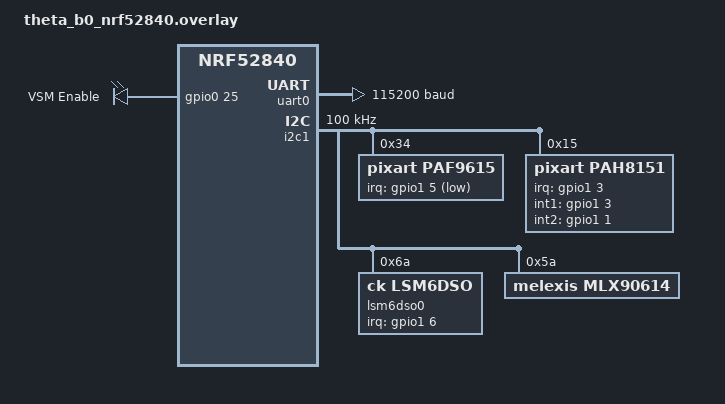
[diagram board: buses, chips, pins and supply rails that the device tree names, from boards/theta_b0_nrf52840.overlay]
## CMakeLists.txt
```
cmake_minimum_required(VERSION 3.20.0)

# Drivers
set(DRIVERS
    vsm_drv
    mlx90614_drv
    lsm6dso_drv
    pah8151_drv
)

# Set Monorepo root
set(MONOREPO_ROOT "/workspaces/concord")
set(MONOREPO_ROOT ${MONOREPO_ROOT} CACHE INTERNAL "Monorepo root directory")

# Set the paths to the DTS and BOARD
set(DTS_ROOT ${MONOREPO_ROOT}/libs/zephyr/ck_boards/current)
set(BOARD_ROOT ${MONOREPO_ROOT}/libs/zephyr/ck_boards/current)
set(BOARD alpha_b0/nrf52840)

# Append drivers
foreach(DRIVER IN LISTS DRIVERS)
    list(APPEND ZEPHYR_EXTRA_MODULES "${MONOREPO_ROOT}/libs/zephyr/${DRIVER}")
endforeach()

# DRIVERS FOR SOME REASON HAVE TO GO HERE?
find_package(Zephyr REQUIRED HINTS $ENV{ZEPHYR_BASE})
project(alpha)

# Get the library hex file path from the VSM driver module
set(LIBRARY_HEX_PATH ${VSM_PSP_HEX_PATH})

# Get the PAH8151 HRD library path from the VSM driver module
set(PAH8151_HRD_LIB_PATH ${VSM_PAH8151_HRD_LIB_PATH})

# Define the merged hex file path
set(MERGED_HEX_PATH "${CMAKE_BINARY_DIR}/merged.hex")

# Custom target to merge and flash both hex files
if(EXISTS ${LIBRARY_HEX_PATH})
    add_custom_target(merge_hex ALL
        COMMAND ${CMAKE_COMMAND} -E echo "Merging application and library hex files..."
        COMMAND mergehex -m ${CMAKE_BINARY_DIR}/zephyr/zephyr.hex ${LIBRARY_HEX_PATH} -o ${MERGED_HEX_PATH}
        DEPENDS ${CMAKE_BINARY_DIR}/zephyr/zephyr.hex
        COMMENT "Merging hex files: application and library"
    )

    # Flash the merged hex file
    add_custom_target(flash_merged ALL
        COMMAND west flash --hex-file ${MERGED_HEX_PATH} --skip-rebuild
        DEPENDS merge_hex
        COMMENT "Flashing merged hex file"
    )
else()
    message(WARNING "Library hex file not found at: ${LIBRARY_HEX_PATH}. Ensure the vsm_drv module is included correctly.")
endif()

# target_sources(app PRIVATE src/main.c)
# target_sources(app PRIVATE src/main_9160.c)
# target_sources(app PRIVATE src/test.c)
# target_sources(app PRIVATE src/test_temp.c)
# target_sources(app PRIVATE src/test_snr.c)
# target_sources(app PRIVATE src/test_cross_talk.c)
# target_sources(app PRIVATE src/test_reflectivity.c)
# target_sources(app PRIVATE src/main_fail.c)
target_sources(app PRIVATE src/main.c)
# target_sources(app PRIVATE src/test_lsm6dso_subs.c)
```

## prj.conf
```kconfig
# CONFIG_THREAD_ANALYZER=y
# CONFIG_THREAD_ANALYZER_USE_PRINTK=y
# CONFIG_THREAD_ANALYZER_AUTO=y
# CONFIG_THREAD_ANALYZER_AUTO_INTERVAL=5

# CoreKinect VSM driver
CONFIG_CK_MODULES_VSM=y
CONFIG_CK_MODULES_VSM_BLE_SERVER=n
CONFIG_CK_MODULES_VSM_THREADS_DEBUG_LEVEL=3
CONFIG_CK_MODULES_VSM_TESTS_ENABLED=y

# Sensor drivers (from separate submodules)
CONFIG_CK_MLX90614=y
CONFIG_CK_MLX90614_LOG_LEVEL=3
CONFIG_CK_LSM6DSO=y
CONFIG_CK_LSM6DSO_LOG_LEVEL=3
CONFIG_CK_LSM6DSO_BUS_MUTEX=n
CONFIG_CK_PAH8151=y
CONFIG_CK_PAH8151_LOG_LEVEL=3

# Logging
CONFIG_LOG=y
CONFIG_MAIN_STACK_SIZE=20000
CONFIG_LOG_BUFFER_SIZE=20000
CONFIG_LOG_MODE_DEFERRED=y
CONFIG_CBPRINTF_FP_SUPPORT=y

# UART logging
CONFIG_LOG_BACKEND_UART=y


# System
CONFIG_RING_BUFFER=y
CONFIG_POLL=y
CONFIG_ASSERT=y
CONFIG_POLL=y
CONFIG_FPU=y
CONFIG_NEWLIB_LIBC=y

# Debugging
CONFIG_HW_STACK_PROTECTION=y
CONFIG_THREAD_MONITOR=y
CONFIG_INIT_STACKS=y
CONFIG_DEBUG_THREAD_INFO=y
CONFIG_THREAD_STACK_INFO=y
CONFIG_THREAD_NAME=y
CONFIG_DEBUG_OPTIMIZATIONS=y
CONFIG_EXCEPTION_STACK_TRACE=y
CONFIG_DEBUG_INFO=y

# Shell
CONFIG_SHELL=n
CONFIG_I2C_SHELL=n

# Peripherals
CONFIG_I2C=y
CONFIG_I2C_GPIO=y
CONFIG_SPI=y

# Sensor
CONFIG_SENSOR=y
CONFIG_SENSOR_LOG_LEVEL_DBG=n
CONFIG_CK_PAH8151_FACTORY_TEST=y
```

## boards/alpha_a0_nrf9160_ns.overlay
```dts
&uart0 {
    status = "okay";
    current-speed = <115200>;
};
```

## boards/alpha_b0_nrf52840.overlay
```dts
/*
 * Copyright (c) 2024-2025 CoreKinect Inc.
 *
 * Alpha B0 NRF52840 sensor overlay
 */

/ {
    aliases {
        vsm-enable = &vsm_enable;
        i2c-gpio = &i2c_gpio;
    };

    /* GPIO I2C bus for MLX90614 IR temp sensor - P1.04 (SCL), P1.06 (SDA) */
    i2c_gpio: i2c-gpio {
        compatible = "gpio-i2c-fast";
        status = "okay";
        clock-frequency = <100000>;
        cpu-frequency = <64000000>;
        #address-cells = <1>;
        #size-cells = <0>;
        scl-gpios = <&gpio1 4 (GPIO_ACTIVE_HIGH | GPIO_PULL_UP)>;
        sda-gpios = <&gpio1 6 (GPIO_ACTIVE_HIGH | GPIO_PULL_UP)>;

        mlx90614: mlx90614@5a {
            status = "okay";
            compatible = "melexis,mlx90614";
            reg = <0x5a>;
            emissivity = <65535>;
        };
    };
};

&lsm6dso0 {
    spi-max-frequency = <10000000>;
};

&i2c1 {
    clock-frequency = <I2C_BITRATE_FAST>;

    pah8151: pah8151@15 {
        status = "okay";
        compatible = "pixart,pah8151";
        reg = <0x15>;
        irq-gpios = <&gpio0 20 GPIO_ACTIVE_HIGH>;    /* PPG.INT1 - P0.20 */
        int1-gpios = <&gpio0 20 GPIO_ACTIVE_HIGH>;
        int2-gpios = <&gpio0 20 GPIO_ACTIVE_HIGH>;   /* Using same pin if only one INT connected */
        int-pin = <1>;
        led-current-ir = <255>;
        led-current-red = <255>;
        led-current-green = <255>;
    };
};
```

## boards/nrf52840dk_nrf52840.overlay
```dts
&uart0 {
    status = "okay";
    current-speed = <115200>;
};

/* Disable SPI0 which conflicts with I2C0 on nRF52840 */
&spi0 {
    status = "disabled";
};

/* Main I2C bus for PAH8151 and LSM6DSO - P0.03 (SDA), P0.04 (SCL) */
&i2c0 {
    compatible = "nordic,nrf-twi";
    status = "okay";
    pinctrl-0 = <&i2c0_default>;
    pinctrl-1 = <&i2c0_sleep>;
    pinctrl-names = "default", "sleep";
    clock-frequency = <100000>;

    pah8151: pah8151@15 {
        status = "okay";
        compatible = "pixart,pah8151";
        reg = <0x15>;
        irq-gpios = <&gpio0 28 GPIO_ACTIVE_HIGH>;
        int1-gpios = <&gpio0 28 GPIO_ACTIVE_HIGH>;
        int2-gpios = <&gpio0 29 GPIO_ACTIVE_HIGH>;
        int-pin = <1>;
        led-current-ir = <255>;
        led-current-green = <255>;
    };

    lsm6dso0: lsm6dso@6a {
        status = "okay";
        compatible = "ck,lsm6dso";
        reg = <0x6a>;
        int-pin = <2>;
        irq-gpios = <&gpio0 29 GPIO_ACTIVE_HIGH>;
        accel-pm = <1>;
        accel-range = <3>;
        accel-odr = <3>;
        gyro-pm = <1>;
        gyro-range = <0>;
        gyro-odr = <2>;
        drdy-pulsed;
    };
};

&pinctrl {
    i2c0_default: i2c0_default {
        group1 {
            psels = <NRF_PSEL(TWIM_SDA, 0, 3)>,
                    <NRF_PSEL(TWIM_SCL, 0, 4)>;
        };
    };

    i2c0_sleep: i2c0_sleep {
        group1 {
            psels = <NRF_PSEL(TWIM_SDA, 0, 3)>,
                    <NRF_PSEL(TWIM_SCL, 0, 4)>;
            low-power-enable;
        };
    };
};

/ {
    aliases {
        vsm-enable = &vsm_enable;
        i2c-gpio = &i2c_gpio;
    };

    gpio_outputs {
        compatible = "gpio-leds";

        vsm_enable: vsm_enable {
            gpios = <&gpio0 13 (GPIO_ACTIVE_HIGH | GPIO_PULL_DOWN)>;
            label = "VSM Enable";
        };
    };

    /* GPIO I2C bus for MLX90614 - P0.30 (SDA), P0.31 (SCL) */
    i2c_gpio: i2c-gpio {
        compatible = "gpio-i2c-fast";
        status = "okay";
        clock-frequency = <100000>;
        #address-cells = <1>;
        #size-cells = <0>;
        sda-gpios = <&gpio0 30 (GPIO_ACTIVE_HIGH | GPIO_PULL_UP)>;
        scl-gpios = <&gpio0 31 (GPIO_ACTIVE_HIGH | GPIO_PULL_UP)>;
        use-gpio-i2c = <1>;

        mlx90614: mlx90614@5a {
            status = "okay";
            compatible = "melexis,mlx90614";
            reg = <0x5a>;
            emissivity = <65535>;
        };
    };
};
```

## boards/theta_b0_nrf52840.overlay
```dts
&uart0 {
    status = "okay";
    current-speed = <115200>;
};

/ {
    aliases {
        vsm-enable = &vsm_enable;
    };

    gpio_outputs {
        compatible = "gpio-leds";

        vsm_enable: vsm_enable {
            gpios = <&gpio0 25 (GPIO_ACTIVE_HIGH | GPIO_PULL_DOWN)>;
            label = "VSM Enable";
        };
    };
};

&i2c1 {
    compatible = "nordic,nrf-twim";
    status = "okay";
    clock-frequency = <100000>;

    paf9615: paf9615@34 {
        status = "okay";
        compatible = "pixart,paf9615";
        reg = <0x34>;
        irq-gpios = <&gpio1 5 GPIO_ACTIVE_LOW>;
        int-pin = <1>;
    };

    pah8151: pah8151@15 {
        status = "okay";
        compatible = "pixart,pah8151";
        reg = <0x15>;
        irq-gpios = <&gpio1 3 GPIO_ACTIVE_HIGH>;
        int1-gpios = <&gpio1 3 GPIO_ACTIVE_HIGH>;
        int2-gpios = <&gpio1 1 GPIO_ACTIVE_HIGH>;
        int-pin = <1>;
        led-current-ir = <255>;
        led-current-red = <255>;
        led-current-green = <255>;
    };

    lsm6dso0: lsm6dso@6a {
        status = "okay";
        compatible = "ck,lsm6dso";
        reg = <0x6a>;
        int-pin = <2>;
        irq-gpios = <&gpio1 6 GPIO_ACTIVE_HIGH>;
        accel-pm = <1>;      // 1 # LSM6DSO_DT_LP_NORMAL_MODE
        accel-range = <3>;   // 3 # LSM6DSO_DT_FS_8G
        accel-odr = <3>;     // 3 # LSM6DSO_DT_ODR_52HZ
        gyro-pm = <1>;       // 1 # LSM6DSO_DT_GY_NORMAL_MODE
        gyro-range = <0>;    // 2 # LSM6DSO_DT_GY_FS_2000DPS
        gyro-odr = <2>;      // 3 # LSM6DSO_DT_GY_ODR_26HZ
        drdy-pulsed;
    };

    mlx90614: mlx90614@5a {
        status = "okay";
        compatible = "melexis,mlx90614";
        reg = <0x5a>;
        emissivity = <65535>;  /* Default to 1.0 (65535/65535) */
    };
};
```

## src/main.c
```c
// Standard includes
#include <stdbool.h>
#include <stdio.h>

// Zephyr includes
#include <zephyr/device.h>
#include <zephyr/drivers/gpio.h>
#include <zephyr/drivers/i2c.h>
#include <zephyr/drivers/sensor.h>
#include <zephyr/kernel.h>
#include <zephyr/logging/log.h>
#include <zephyr/pm/pm.h>

// Application includes
#include <corekinect/module/vsm/vsm.h>

LOG_MODULE_REGISTER(alpha, 4);

/*---------------------------------------------------------------------------
 * Motion Detection Thread
 *---------------------------------------------------------------------------*/

#define MOTION_THREAD_STACK_SIZE 1024
#define MOTION_THREAD_PRIORITY 7

static K_THREAD_STACK_DEFINE(motion_thread_stack, MOTION_THREAD_STACK_SIZE);
static struct k_thread motion_thread_data;
static struct k_sem motion_sem;
static const struct device* imu_dev;

// Forward declarations for helper functions
static void handle_vsm_callback(const vitals_thread_callback_data_t* data, void* user_data);
static void process_vitals_metrics(const vitals_output_metrics_t* metrics);
static void motion_trigger_handler(const struct device* dev, const struct sensor_trigger* trig);
static void motion_thread_entry(void* p1, void* p2, void* p3);

// Global variables
static vsm_t g_vsm = {0};
static struct k_sem g_vsm_hw_error_sem;
static volatile uint32_t g_motion_count = 0;
static volatile bool g_monitoring_active = false;

static void handle_vsm_callback(const vitals_thread_callback_data_t* data, void* user_data) {
    // Process based on event type
    switch (data->event) {
        case VITALS_EVENT_HW_ERROR:
            // Handle hardware error
            LOG_ERR("PPG Sensor Error: %d", data->hw_error.ppg_sensor_error);
            LOG_ERR("PPG Watchdog Timeout: %d", data->hw_error.ppg_watchdog_timeout);
            LOG_ERR("IMU Sensor Error: %d", data->hw_error.imu_sensor_error);
            LOG_ERR("Temp Sensor Error: %d", data->hw_error.temp_sensor_error);

            k_sem_give(&g_vsm_hw_error_sem);
            break;

        case VITALS_EVENT_STATE_CHANGED:
            // Handle state transitions
            switch (data->state) {
                case VITALS_STATE_IDLE:
                    // Idle state, do nothing
                    break;

                case VITALS_STATE_TOUCH_DETECTED:
                    // Touch detected, do nothing
                    LOG_WRN("Touch detected, beginning skin detection");
                    break;

                case VITALS_STATE_SKIN_CONFIRMED:
                    // Skin contact confirmed, activate full monitoring
                    LOG_WRN("Skin contact confirmed, activating monitoring");
                    vsm_activate_monitoring(&g_vsm);
                    break;

                case VITALS_STATE_ACTIVE_MONITORING:
                    g_monitoring_active = true;
                    LOG_WRN("=== ACTIVE MONITORING — move hand to test ===");
                    break;

                case VITALS_STATE_TOUCH_LOST:
                    // Touch lost, do nothing
                    LOG_WRN("Touch lost, beginning deskin detection");
                    break;

                case VITALS_STATE_DESKIN_CONFIRMED:
                    g_monitoring_active = false;
                    LOG_WRN("=== SKIN LOST — monitoring stopped ===");
                    break;

                case VITALS_STATE_SHUTDOWN:
                    // Shutdown state, do nothing
                    LOG_WRN("Shutting down");
                    break;

                default:
                    LOG_ERR("Unknown vitals thread state: %d", data->state);
                    break;
            }
            break;

        case VITALS_EVENT_METRICS_UPDATED:
            // Process updated metrics
            process_vitals_metrics(&data->metrics);
            break;

        default:
            LOG_WRN("Unknown vitals event: %d", data->event);
            break;
    }
}

static void process_vitals_metrics(const vitals_output_metrics_t* metrics) {
    if (metrics->heart_rate_updated || metrics->spo2_updated) {
        LOG_INF("HR: %3d bpm Q:%d | SpO2: %3d%% Q:%d | motion: %u",
                metrics->heart_rate, metrics->heart_rate_quality,
                metrics->spo2, metrics->spo2_quality,
                g_motion_count);
    }

    if (metrics->temperature_updated) {
        LOG_INF("Temp: %.1f F", (double)metrics->temperature_f);
    }
}

/*---------------------------------------------------------------------------
 * Motion Detection
 *---------------------------------------------------------------------------*/

/**
 * @brief Motion trigger callback - called from driver context
 *
 * This callback is invoked by the LSM6DSO driver when motion is detected.
 * It signals the motion thread to wake up and process the event.
 */
static void motion_trigger_handler(const struct device* dev, const struct sensor_trigger* trig) {
    ARG_UNUSED(dev);
    ARG_UNUSED(trig);

    k_sem_give(&motion_sem);
}

/**
 * @brief Motion detection thread entry point
 *
 * Waits for motion events from the IMU sensor and logs them.
 * This thread demonstrates how to use the sensor trigger API
 * for motion-based wake-up detection.
 */
static void motion_thread_entry(void* p1, void* p2, void* p3) {
    ARG_UNUSED(p1);
    ARG_UNUSED(p2);
    ARG_UNUSED(p3);

    uint32_t motion_count = 0;

    LOG_INF("Motion detection thread started");

    while (1) {
        /* Wait for motion event */
        k_sem_take(&motion_sem, K_FOREVER);

        motion_count++;
        g_motion_count = motion_count;

        /*
         * Application can perform actions here such as:
         * - Wake up from low power mode
         * - Start or stop monitoring
         * - Log activity data
         * - Send notification over BLE
         */
    }
}

/**
 * @brief Initialize motion detection
 *
 * Sets up the IMU sensor for motion detection and starts the motion thread.
 *
 * Motion detection parameters:
 *   - Threshold (SENSOR_ATTR_SLOPE_TH): Sensitivity in milli-g
 *     Lower = more sensitive (e.g., 100mg detects subtle movement)
 *     Higher = less sensitive (e.g., 500mg requires strong shake)
 *     The driver auto-scales based on current accelerometer range setting.
 *
 *   - Duration (SENSOR_ATTR_SLOPE_DUR): Minimum motion duration in milliseconds
 *     Filters out brief vibrations/noise. Set to 0 for instant detection.
 *     The driver converts to ODR cycles based on current sampling rate.
 *     Hardware limit: ~60ms max at 52Hz ODR (3 cycles).
 *
 * @return 0 on success, negative errno on failure
 */
static int init_motion_detection(void) {
    int ret;
    struct sensor_trigger trig = {
        .type = SENSOR_TRIG_MOTION,
        .chan = SENSOR_CHAN_ACCEL_XYZ,
    };

    /* Get the IMU device */
    imu_dev = DEVICE_DT_GET(DT_NODELABEL(lsm6dso0));
    if (!device_is_ready(imu_dev)) {
        LOG_ERR("IMU device not ready for motion detection");
        return -ENODEV;
    }

    /* Initialize semaphore */
    k_sem_init(&motion_sem, 0, K_SEM_MAX_LIMIT);

    /*
     * Configure motion detection sensitivity (threshold in milli-g).
     * The driver internally handles different accelerometer range settings.
     * Typical values: 100-500 mg depending on application sensitivity needs.
     */
    struct sensor_value threshold = {.val1 = 100, .val2 = 0}; /* 100 mg */
    ret = sensor_attr_set(imu_dev, SENSOR_CHAN_ACCEL_XYZ,
                          SENSOR_ATTR_SLOPE_TH, &threshold);
    if (ret < 0) {
        LOG_WRN("Failed to set motion threshold: %d (using default)", ret);
    }

    /*
     * Configure motion detection duration (minimum time above threshold in ms).
     * The driver internally converts to ODR cycles based on current sampling rate.
     * Typical values: 0 (instant), 20-60 ms to filter noise.
     */
    struct sensor_value duration = {.val1 = 0, .val2 = 0}; /* 0 ms = instant */
    ret = sensor_attr_set(imu_dev, SENSOR_CHAN_ACCEL_XYZ,
                          SENSOR_ATTR_SLOPE_DUR, &duration);
    if (ret < 0) {
        LOG_WRN("Failed to set motion duration: %d (using default)", ret);
    }

    /* Set motion trigger handler */
    ret = sensor_trigger_set(imu_dev, &trig, motion_trigger_handler);
    if (ret < 0) {
        LOG_ERR("Failed to set motion trigger: %d", ret);
        return ret;
    }

    /* Start motion thread */
    k_thread_create(&motion_thread_data, motion_thread_stack,
                    MOTION_THREAD_STACK_SIZE,
                    motion_thread_entry, NULL, NULL, NULL,
                    MOTION_THREAD_PRIORITY, 0, K_NO_WAIT);
    k_thread_name_set(&motion_thread_data, "motion");

    LOG_INF("Motion detection initialized (threshold: %d mg, duration: %d ms)",
            threshold.val1, duration.val1);
    return 0;
}

int main(void) {
    static const vsm_config_t vsm_cfg = {
        .p_ppg_dev = DEVICE_DT_GET(DT_NODELABEL(pah8151)),
        .p_imu_dev = DEVICE_DT_GET(DT_NODELABEL(lsm6dso0)),
        .p_temp_dev = DEVICE_DT_GET(DT_NODELABEL(mlx90614)),
        .p_ppg_enable_gpio = GPIO_DT_SPEC_GET(DT_ALIAS(vsm_enable), gpios),
        .callback = handle_vsm_callback,
        .callback_user_data = NULL,
        .skin_temp_min_threshold_f = 65.0f,
        .skin_temp_max_threshold_f = 105.0f,
        .skin_detection_period_ms = 1000,
        .deskin_detection_period_ms = 6000,
    };

    k_sem_init(&g_vsm_hw_error_sem, 0, 1);

    if (!vsm_init(&vsm_cfg, &g_vsm)) {
        LOG_ERR("VSM init failed - halting");
        while (1) {
            k_sleep(K_FOREVER);
        }
    }

    LOG_INF("VSM ready");

    /* Initialize motion detection */
    int motion_ret = init_motion_detection();
    if (motion_ret < 0) {
        LOG_WRN("Motion detection init failed: %d (continuing without it)", motion_ret);
    }

    // Wait for hardware error
    k_sem_take(&g_vsm_hw_error_sem, K_FOREVER);
    LOG_ERR("HW error - halting");
    vsm_deinit(&g_vsm);

    while (1) {
        k_sleep(K_FOREVER);
    }

    return 0;
}
```

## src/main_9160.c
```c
// Standard includes
#include <stdbool.h>
#include <stdio.h>

// Zephyr includes
#include <zephyr/kernel.h>
#include <zephyr/logging/log.h>

LOG_MODULE_REGISTER(alpha, 4);

int main(void) {
    // Main application loop
    while (1) {
        LOG_INF("Hello, World!");

        k_msleep(1000);
    }

    return 0;
}
```

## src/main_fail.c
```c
/**
 * @file main_fail.c
 * @brief VSM + Cross-talk test cycle to verify PAH8151 re-init
 *
 * Scenario:
 * 1. VSM init and run for 10 seconds
 * 2. VSM deinit
 * 3. Run actual cross-talk test (like test_cross_talk.c)
 * 4. Return to VSM functionality
 */

#include <stdbool.h>
#include <stdio.h>

#include <zephyr/device.h>
#include <zephyr/drivers/gpio.h>
#include <zephyr/kernel.h>
#include <zephyr/logging/log.h>

#include <corekinect/module/vsm/vsm.h>
#include <corekinect/sensors/pah8151/pah8151.h>

LOG_MODULE_REGISTER(main_fail, LOG_LEVEL_DBG);

// ANSI color codes for terminal output
#define ANSI_RED "\033[31m"
#define ANSI_GREEN "\033[32m"
#define ANSI_RESET "\033[0m"
#define ANSI_BOLD "\033[1m"

static vsm_t g_vsm = {0};
static volatile int g_cycle_count = 0;

static void handle_vsm_callback(const vitals_thread_callback_data_t *data, void *user_data) {
    switch (data->event) {
        case VITALS_EVENT_HW_ERROR:
            LOG_ERR("HW Error - PPG:%d IMU:%d Temp:%d Watchdog:%d",
                    data->hw_error.ppg_sensor_error,
                    data->hw_error.imu_sensor_error,
                    data->hw_error.temp_sensor_error,
                    data->hw_error.ppg_watchdog_timeout);
            break;

        case VITALS_EVENT_STATE_CHANGED:
            LOG_INF("State changed: %d", data->state);
            if (data->state == VITALS_STATE_SKIN_CONFIRMED) {
                LOG_INF("Skin confirmed - activating monitoring");
                vsm_activate_monitoring(&g_vsm);
            }
            break;

        case VITALS_EVENT_METRICS_UPDATED:
            if (data->metrics.heart_rate_updated) {
                LOG_INF("HR: %d bpm (quality: %d)",
                        data->metrics.heart_rate,
                        data->metrics.heart_rate_quality);
            }
            break;

        default:
            break;
    }
}

static void print_cross_talk_results(const vsm_test_cross_talk_result_t *result) {
    LOG_INF("=== Cross-Talk Test Results ===");
    if (result->passed) {
        LOG_INF("%s%sOverall: PASSED%s", ANSI_BOLD, ANSI_GREEN, ANSI_RESET);
    } else {
        LOG_ERR("%s%sOverall: FAILED%s", ANSI_BOLD, ANSI_RED, ANSI_RESET);
    }

    LOG_INF("Green: %ld (threshold: %ld) %s",
            (long)result->green.raw_count,
            (long)result->green.threshold,
            result->green.passed ? "PASS" : "FAIL");

    LOG_INF("Red: %ld (threshold: %ld) %s",
            (long)result->red.raw_count,
            (long)result->red.threshold,
            result->red.passed ? "PASS" : "FAIL");

    LOG_INF("IR: %ld (threshold: %ld) %s",
            (long)result->ir.raw_count,
            (long)result->ir.threshold,
            result->ir.passed ? "PASS" : "FAIL");
}

static bool run_vsm_cycle(int duration_sec) {
    static const vsm_config_t vsm_cfg = {
        .p_ppg_dev = DEVICE_DT_GET(DT_NODELABEL(pah8151)),
        .p_imu_dev = DEVICE_DT_GET(DT_NODELABEL(lsm6dso0)),
        .p_temp_dev = DEVICE_DT_GET(DT_NODELABEL(mlx90614)),
        .p_ppg_enable_gpio = GPIO_DT_SPEC_GET(DT_ALIAS(vsm_enable), gpios),
        .callback = handle_vsm_callback,
        .callback_user_data = NULL,
        .skin_temp_min_threshold_f = 80.0f,
        .skin_temp_max_threshold_f = 100.0f,
        .skin_detection_period_ms = 1000,
        .deskin_detection_period_ms = 6000,
    };

    LOG_INF("=== VSM INIT (cycle %d) ===", g_cycle_count);

    if (!vsm_init(&vsm_cfg, &g_vsm)) {
        LOG_ERR("VSM init FAILED");
        return false;
    }
    LOG_INF("VSM init OK");

    LOG_INF("Running VSM for %d seconds...", duration_sec);
    k_sleep(K_SECONDS(duration_sec));

    LOG_INF("=== VSM DEINIT ===");
    if (!vsm_deinit(&g_vsm)) {
        LOG_ERR("VSM deinit FAILED");
        return false;
    }
    LOG_INF("VSM deinit OK");

    k_sleep(K_MSEC(500));
    return true;
}

static bool run_cross_talk_test(void) {
    static const struct gpio_dt_spec ppg_enable = GPIO_DT_SPEC_GET(DT_ALIAS(vsm_enable), gpios);

    LOG_INF("=== CROSS-TALK TEST ===");

    /* Turn on PPG power (VSM deinit turned it off) */
    LOG_INF("Enabling PPG power GPIO...");
    int rc = gpio_pin_configure_dt(&ppg_enable, GPIO_OUTPUT_ACTIVE);
    if (rc != 0) {
        LOG_ERR("Failed to enable PPG power: %d", rc);
        return false;
    }
    k_sleep(K_MSEC(50));

    /* Run the actual cross-talk test */
    static const vsm_test_cross_talk_config_t cross_talk_config = {
        .p_ppg_dev = DEVICE_DT_GET(DT_NODELABEL(pah8151)),
    };

    LOG_INF("Running cross-talk test (cover sensor with black rubber)...");
    vsm_test_cross_talk_result_t result = vsm_test_cross_talk(&cross_talk_config);

    /* Print results */
    print_cross_talk_results(&result);

    /*
     * NOTE: No pah8151_deinit() call needed here.
     * The cross-talk test now uses direct register access without initializing
     * the driver, so the sensor is left in a clean powered-down state ready
     * for the next pah8151_init() call by VSM.
     */

    /* Keep power on for next VSM init */
    k_sleep(K_MSEC(500));

    return true;
}

int main(void) {
    LOG_INF("========================================");
    LOG_INF("  VSM + Cross-Talk Test Cycle");
    LOG_INF("========================================");

    while (1) {
        g_cycle_count++;
        LOG_INF("");
        LOG_INF("############### CYCLE %d ###############", g_cycle_count);

        /* Phase 1: VSM for 10 seconds */
        LOG_INF("--- Phase 1: VSM Operation (10s) ---");
        if (!run_vsm_cycle(10)) {
            LOG_ERR("VSM cycle failed at cycle %d", g_cycle_count);
            break;
        }

        /* Phase 2: Cross-talk test */
        LOG_INF("--- Phase 2: Cross-Talk Test ---");
        if (!run_cross_talk_test()) {
            LOG_ERR("Cross-talk test failed at cycle %d", g_cycle_count);
            break;
        }

        /* Phase 3: Back to VSM for 10 seconds */
        LOG_INF("--- Phase 3: Back to VSM (10s) ---");
        if (!run_vsm_cycle(10)) {
            LOG_ERR("Second VSM cycle failed at cycle %d", g_cycle_count);
            break;
        }

        LOG_INF("");
        LOG_INF("Cycle %d completed successfully!", g_cycle_count);
        LOG_INF("Waiting 2 seconds before next cycle...");
        k_sleep(K_SECONDS(2));
    }

    LOG_ERR("Test ended - stuck at cycle %d", g_cycle_count);
    while (1) {
        k_sleep(K_FOREVER);
    }

    return 0;
}
```

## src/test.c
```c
// Standard includes
#include <stdbool.h>
#include <stdio.h>

// Zephyr includes
#include <zephyr/device.h>
#include <zephyr/drivers/gpio.h>
#include <zephyr/drivers/i2c.h>
#include <zephyr/drivers/sensor.h>
#include <zephyr/kernel.h>
#include <zephyr/logging/log.h>

// Application includes
#include <corekinect/module/vsm/vsm.h>
#include <corekinect/sensor/pah8151/PAH8151/pah_factory_test/pah_815x_factory_test_v1.h>
#include <corekinect/sensor/pah8151/pah8151.h>

LOG_MODULE_REGISTER(alpha, 4);

int main(void) {
    int rc;
    rc = pah8151_init(DEVICE_DT_GET(DT_NODELABEL(pah8151)));
    if (rc != 0) {
        LOG_ERR("Failed to initialize PPG sensor: %s", strerror(-rc));
        return -1;
    }

    // Ensure the devices are ready
    if (!device_is_ready(DEVICE_DT_GET(DT_NODELABEL(pah8151)))) {
        LOG_ERR("PPG device not ready");
        return -1;
    }

    uint8_t sensor_pid = 0;
    pah_815x_read_id(&sensor_pid);

    if (sensor_pid == 0x51) {
        LOG_INF("ID Check Success. Sensor_pid = 0x%x \n\n", sensor_pid);
    } else {
        LOG_ERR("ID Check Fail.    Sensor_pid = 0x%x \n\n", sensor_pid);
    }

    // // INT_TEST
    // demo_factory_mode(INT_TEST, 0, 0, 0, 0);
    // // Check_Brightness_FPC_Only
    // demo_factory_mode(Check_Brightness_FPC_Only, 0, 0, 0, 0);

    // Light_Leak_Test
    while (1) {
        demo_factory_mode(Light_Leak_Test, 0, 0, 0, 0);
        k_msleep(500);
    }

    // // Check_Brightness_with_mechanical_cover
    // demo_factory_mode(Check_Brightness_with_mechanical_cover, 0x45, 0x45, 0x45, 0x45);

    // // Check_Power Noise
    // demo_factory_mode(Power_Noise_Test, 0, 0, 0, 0);
    // k_msleep(5000);

    // // Stop Factory Test
    // demo_factory_mode(Factory_Test_Stop, 0, 0, 0, 0);

    // Cap Full Channel &SNR Test //
    // Full_Channel_SNR_Test();

    return 0;
}
```

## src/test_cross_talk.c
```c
// Standard includes
#include <stdbool.h>
#include <stdio.h>

// Zephyr includes
#include <zephyr/device.h>
#include <zephyr/kernel.h>
#include <zephyr/logging/log.h>

// Application includes
#include <corekinect/module/vsm/vsm.h>

LOG_MODULE_REGISTER(test_cross_talk, 4);

// ANSI color codes for terminal output
#define ANSI_RED "\033[31m"
#define ANSI_GREEN "\033[32m"
#define ANSI_YELLOW "\033[33m"
#define ANSI_BLUE "\033[34m"
#define ANSI_MAGENTA "\033[35m"
#define ANSI_CYAN "\033[36m"
#define ANSI_RESET "\033[0m"
#define ANSI_BOLD "\033[1m"

/**
 * @brief Process and display cross-talk test results
 *
 * @param result The cross-talk test results to process
 */
static void process_cross_talk_results(const vsm_test_cross_talk_result_t *result) {
    if (!result) {
        LOG_ERR("Invalid cross-talk test result");
        return;
    }

    LOG_INF("=== Cross-Talk Test Results ===");
    if (result->passed) {
        LOG_INF("%s%sOverall test result: PASSED%s", ANSI_BOLD, ANSI_GREEN, ANSI_RESET);
    } else {
        LOG_ERR("%s%sOverall test result: FAILED%s", ANSI_BOLD, ANSI_RED, ANSI_RESET);
    }

    // Display per-channel results
    LOG_INF("=== Per-Channel Results ===");

    // Green channel
    LOG_INF("Green Channel:");
    LOG_INF("  Raw count: %ld", (long)result->green.raw_count);
    LOG_INF("  Threshold: %ld", (long)result->green.threshold);
    if (result->green.passed) {
        LOG_INF("  Status: %s%sPASSED%s", ANSI_BOLD, ANSI_GREEN, ANSI_RESET);
    } else {
        LOG_ERR("  Status: %s%sFAILED%s", ANSI_BOLD, ANSI_RED, ANSI_RESET);
    }

    // Red channel
    LOG_INF("Red Channel:");
    LOG_INF("  Raw count: %ld", (long)result->red.raw_count);
    LOG_INF("  Threshold: %ld", (long)result->red.threshold);
    if (result->red.passed) {
        LOG_INF("  Status: %s%sPASSED%s", ANSI_BOLD, ANSI_GREEN, ANSI_RESET);
    } else {
        LOG_ERR("  Status: %s%sFAILED%s", ANSI_BOLD, ANSI_RED, ANSI_RESET);
    }

    // IR channel
    LOG_INF("IR Channel:");
    LOG_INF("  Raw count: %ld", (long)result->ir.raw_count);
    LOG_INF("  Threshold: %ld", (long)result->ir.threshold);
    if (result->ir.passed) {
        LOG_INF("  Status: %s%sPASSED%s", ANSI_BOLD, ANSI_GREEN, ANSI_RESET);
    } else {
        LOG_ERR("  Status: %s%sFAILED%s", ANSI_BOLD, ANSI_RED, ANSI_RESET);
    }

    // Display passing criteria values
    LOG_INF("=== Passing Criteria Values ===");
    LOG_INF("Green LED threshold: %ld", (long)result->pass_green_led_value);
    LOG_INF("Red & IR LED threshold: %ld", (long)result->pass_red_and_ir_led_value);

    // Detailed analysis
    LOG_INF("=== Detailed Analysis ===");

    // Green channel analysis
    if (result->green.raw_count < result->green.threshold) {
        LOG_INF("%s%s✓ Green channel: Raw count (%ld) < threshold (%ld)%s",
                ANSI_BOLD, ANSI_GREEN, (long)result->green.raw_count, (long)result->green.threshold, ANSI_RESET);
    } else {
        LOG_ERR("%s%s✗ Green channel: Raw count (%ld) >= threshold (%ld)%s",
                ANSI_BOLD, ANSI_RED, (long)result->green.raw_count, (long)result->green.threshold, ANSI_RESET);
    }

    // Red channel analysis
    if (result->red.raw_count < result->red.threshold) {
        LOG_INF("%s%s✓ Red channel: Raw count (%ld) < threshold (%ld)%s",
                ANSI_BOLD, ANSI_GREEN, (long)result->red.raw_count, (long)result->red.threshold, ANSI_RESET);
    } else {
        LOG_ERR("%s%s✗ Red channel: Raw count (%ld) >= threshold (%ld)%s",
                ANSI_BOLD, ANSI_RED, (long)result->red.raw_count, (long)result->red.threshold, ANSI_RESET);
    }

    // IR channel analysis
    if (result->ir.raw_count < result->ir.threshold) {
        LOG_INF("%s%s✓ IR channel: Raw count (%ld) < threshold (%ld)%s",
                ANSI_BOLD, ANSI_GREEN, (long)result->ir.raw_count, (long)result->ir.threshold, ANSI_RESET);
    } else {
        LOG_ERR("%s%s✗ IR channel: Raw count (%ld) >= threshold (%ld)%s",
                ANSI_BOLD, ANSI_RED, (long)result->ir.raw_count, (long)result->ir.threshold, ANSI_RESET);
    }

    // Summary
    LOG_INF("=== Summary ===");
    if (result->passed) {
        LOG_INF("%s%s✓ Cross-talk test PASSED - All channels below threshold%s", ANSI_BOLD, ANSI_GREEN, ANSI_RESET);
    } else {
        LOG_ERR("%s%s✗ Cross-talk test FAILED - One or more channels above threshold%s", ANSI_BOLD, ANSI_RED, ANSI_RESET);
    }
}

int main(void) {
    LOG_INF("Cross-Talk Test Application Starting...");

    // Configure cross-talk test
    static const vsm_test_cross_talk_config_t cross_talk_config = {
        .p_ppg_dev = DEVICE_DT_GET(DT_NODELABEL(pah8151)),
    };

    LOG_INF("Starting cross-talk test...");
    LOG_INF("Prerequisites:");
    LOG_INF("- Device must be covered by a black rubber piece");
    LOG_INF("- Black rubber must cover the sensor assembly entirely");
    LOG_INF("- Fixture and environment should be stable");
    LOG_INF("- Measurement duration: ~30 seconds");

    vsm_test_cross_talk_result_t result = vsm_test_cross_talk(&cross_talk_config);

    // Process and display results
    process_cross_talk_results(&result);

    LOG_INF("Cross-talk test application completed!");

    return 0;
}
```

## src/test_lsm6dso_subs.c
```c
/**
 * @brief LSM6DSO Subscription API Test
 *
 * Exercises the subscription-based feature management by cycling through
 * every combination of FIFO and motion detection, with pauses between
 * each phase so you can observe the behaviour on the serial console and
 * with a current meter / logic analyser.
 *
 * Phase 1  – FIFO only            (LP,  ~26 samples/500ms at 52 Hz)
 * Phase 2  – FIFO + Motion        (LP,  samples + motion interrupts)
 * Phase 3  – Motion only, dur=40  (LP,  motion interrupts, 0 FIFO samples)
 * Phase 4  – Nothing              (ULP, silence)
 * Phase 5  – Motion only, dur=40  (LP,  motion interrupts at 26 Hz ODR)
 * Phase 6  – FIFO + Motion        (LP,  both, ODR bumped back to 52 Hz)
 * Phase 7  – Disable motion       (LP,  FIFO only)
 * Phase 8  – Disable FIFO         (ULP, silence)
 * Phase 9  – Motion only, dur=0   (ULP, motion interrupts)
 * Phase 10 – Set duration=40ms    (LP,  reconfigure triggered)
 * Phase 11 – Set duration=0       (ULP, reconfigure triggered)
 * Phase 12 – Disable motion       (ULP, all disabled, ODR=0)
 *
 * Each phase runs for PHASE_DURATION_MS.  A FIFO consumer thread and a
 * motion consumer thread run the entire time; they simply report what
 * they receive.
 */

#include <zephyr/device.h>
#include <zephyr/drivers/sensor.h>
#include <zephyr/kernel.h>
#include <zephyr/logging/log.h>

#include <corekinect/sensors/lsm6dso/lsm6dso.h>

LOG_MODULE_REGISTER(lsm6dso_test, LOG_LEVEL_INF);

/*============================================================================
 * Configuration
 *============================================================================*/

#define FIFO_POLL_INTERVAL_MS  500
#define PHASE_DURATION_MS      5000

#define MOTION_THRESHOLD_MG    200
#define MOTION_DURATION_MS     40

#define FIFO_THREAD_STACK_SIZE   1024
#define FIFO_THREAD_PRIORITY     7
#define MOTION_THREAD_STACK_SIZE 1024
#define MOTION_THREAD_PRIORITY   6

/*============================================================================
 * Shared State
 *============================================================================*/

static K_THREAD_STACK_DEFINE(fifo_stack, FIFO_THREAD_STACK_SIZE);
static K_THREAD_STACK_DEFINE(motion_stack, MOTION_THREAD_STACK_SIZE);
static struct k_thread fifo_thread_data;
static struct k_thread motion_thread_data;

static struct k_sem motion_sem;
static const struct device *imu_dev;

/*============================================================================
 * FIFO Consumer Thread
 *============================================================================*/

static void fifo_thread_entry(void *p1, void *p2, void *p3)
{
    ARG_UNUSED(p1);
    ARG_UNUSED(p2);
    ARG_UNUSED(p3);

    struct sensor_value sample_count;
    uint32_t total_samples = 0;

    LOG_INF("FIFO thread started - polling every %d ms", FIFO_POLL_INTERVAL_MS);

    while (1) {
        k_msleep(FIFO_POLL_INTERVAL_MS);

        int ret = sensor_sample_fetch(imu_dev);
        if (ret < 0) {
            LOG_ERR("FIFO: fetch failed: %d", ret);
            continue;
        }

        ret = sensor_channel_get(imu_dev,
                                 (enum sensor_channel)SENSOR_CHAN_LSM6DSO_SAMPLE_COUNT,
                                 &sample_count);
        if (ret < 0) {
            LOG_ERR("FIFO: channel_get failed: %d", ret);
            continue;
        }

        int count = sample_count.val1;
        total_samples += count;
        LOG_INF("FIFO: %d samples this poll (total: %u)", count, total_samples);
    }
}

/*============================================================================
 * Motion Consumer Thread
 *============================================================================*/

static void motion_trigger_handler(const struct device *dev,
                                   const struct sensor_trigger *trig)
{
    ARG_UNUSED(dev);
    ARG_UNUSED(trig);
    k_sem_give(&motion_sem);
}

static void motion_thread_entry(void *p1, void *p2, void *p3)
{
    ARG_UNUSED(p1);
    ARG_UNUSED(p2);
    ARG_UNUSED(p3);

    uint32_t motion_count = 0;

    LOG_INF("Motion thread started");

    while (1) {
        k_sem_take(&motion_sem, K_FOREVER);
        motion_count++;
        LOG_INF("MOTION: detected (count: %u)", motion_count);
    }
}

/*============================================================================
 * Subscription Helpers
 *============================================================================*/

static int fifo_enable(uint16_t odr_hz)
{
    int ret;
    struct sensor_value val;

    val.val1 = odr_hz;
    val.val2 = 0;
    ret = sensor_attr_set(imu_dev, SENSOR_CHAN_ACCEL_XYZ,
                          (enum sensor_attribute)SENSOR_ATTR_LSM6DSO_FIFO_ODR, &val);
    if (ret < 0) {
        LOG_ERR("  FIFO ODR set failed: %d", ret);
        return ret;
    }

    val.val1 = 1;
    ret = sensor_attr_set(imu_dev, SENSOR_CHAN_ACCEL_XYZ,
                          (enum sensor_attribute)SENSOR_ATTR_LSM6DSO_FIFO_EN, &val);
    if (ret < 0) {
        LOG_ERR("  FIFO enable failed: %d", ret);
    }
    return ret;
}

static int fifo_disable(void)
{
    struct sensor_value val = { .val1 = 0 };
    int ret = sensor_attr_set(imu_dev, SENSOR_CHAN_ACCEL_XYZ,
                              (enum sensor_attribute)SENSOR_ATTR_LSM6DSO_FIFO_EN, &val);
    if (ret < 0) {
        LOG_ERR("  FIFO disable failed: %d", ret);
    }
    return ret;
}

static struct sensor_trigger motion_trig = {
    .type = SENSOR_TRIG_MOTION,
    .chan = SENSOR_CHAN_ACCEL_XYZ,
};

static int motion_enable(void)
{
    int ret;
    struct sensor_value val;

    val.val1 = MOTION_THRESHOLD_MG;
    val.val2 = 0;
    ret = sensor_attr_set(imu_dev, SENSOR_CHAN_ACCEL_XYZ,
                          SENSOR_ATTR_SLOPE_TH, &val);
    if (ret < 0) {
        LOG_WRN("  Motion threshold set failed: %d", ret);
    }

    val.val1 = MOTION_DURATION_MS;
    ret = sensor_attr_set(imu_dev, SENSOR_CHAN_ACCEL_XYZ,
                          SENSOR_ATTR_SLOPE_DUR, &val);
    if (ret < 0) {
        LOG_WRN("  Motion duration set failed: %d", ret);
    }

    ret = sensor_trigger_set(imu_dev, &motion_trig, motion_trigger_handler);
    if (ret < 0) {
        LOG_ERR("  Motion trigger_set failed: %d", ret);
    }
    return ret;
}

static int motion_disable(void)
{
    int ret = sensor_trigger_set(imu_dev, &motion_trig, NULL);
    if (ret < 0) {
        LOG_ERR("  Motion trigger_set(NULL) failed: %d", ret);
    }
    return ret;
}

static int motion_enable_instant(void)
{
    int ret;
    struct sensor_value val;

    val.val1 = MOTION_THRESHOLD_MG;
    val.val2 = 0;
    ret = sensor_attr_set(imu_dev, SENSOR_CHAN_ACCEL_XYZ,
                          SENSOR_ATTR_SLOPE_TH, &val);
    if (ret < 0) {
        LOG_WRN("  Motion threshold set failed: %d", ret);
    }

    val.val1 = 0;
    ret = sensor_attr_set(imu_dev, SENSOR_CHAN_ACCEL_XYZ,
                          SENSOR_ATTR_SLOPE_DUR, &val);
    if (ret < 0) {
        LOG_WRN("  Motion duration set failed: %d", ret);
    }

    ret = sensor_trigger_set(imu_dev, &motion_trig, motion_trigger_handler);
    if (ret < 0) {
        LOG_ERR("  Motion trigger_set failed: %d", ret);
    }
    return ret;
}

static int motion_set_duration(int32_t duration_ms)
{
    struct sensor_value val;

    val.val1 = duration_ms;
    val.val2 = 0;
    int ret = sensor_attr_set(imu_dev, SENSOR_CHAN_ACCEL_XYZ,
                              SENSOR_ATTR_SLOPE_DUR, &val);
    if (ret < 0) {
        LOG_ERR("  Motion duration set failed: %d", ret);
    }
    return ret;
}

/*============================================================================
 * Test Phases
 *============================================================================*/

static void run_phase(const char *name, int phase_num)
{
    LOG_INF("========================================");
    LOG_INF("Phase %d: %s  (%d ms)", phase_num, name, PHASE_DURATION_MS);
    LOG_INF("========================================");
    k_msleep(PHASE_DURATION_MS);
}

int main(void)
{
    LOG_INF("LSM6DSO Subscription API Test");
    LOG_INF("========================================");

    imu_dev = DEVICE_DT_GET(DT_NODELABEL(lsm6dso0));
    if (!device_is_ready(imu_dev)) {
        LOG_ERR("IMU device not ready");
        return -ENODEV;
    }

    LOG_INF("IMU device ready");

    k_sem_init(&motion_sem, 0, K_SEM_MAX_LIMIT);

    /* Start consumer threads - they run for the entire test */
    k_thread_create(&fifo_thread_data, fifo_stack, FIFO_THREAD_STACK_SIZE,
                    fifo_thread_entry, NULL, NULL, NULL,
                    FIFO_THREAD_PRIORITY, 0, K_NO_WAIT);
    k_thread_name_set(&fifo_thread_data, "fifo");

    k_thread_create(&motion_thread_data, motion_stack, MOTION_THREAD_STACK_SIZE,
                    motion_thread_entry, NULL, NULL, NULL,
                    MOTION_THREAD_PRIORITY, 0, K_NO_WAIT);
    k_thread_name_set(&motion_thread_data, "motion");

    LOG_INF("Consumer threads running");

    /* ---- Phase 1: FIFO only ---- */
    LOG_INF("Enabling FIFO at 52 Hz...");
    fifo_enable(52);
    run_phase("FIFO only (52 Hz)", 1);

    /* ---- Phase 2: FIFO + Motion ---- */
    LOG_INF("Enabling motion detection...");
    motion_enable();
    run_phase("FIFO + Motion", 2);

    /* ---- Phase 3: Motion only ---- */
    LOG_INF("Disabling FIFO (motion stays)...");
    fifo_disable();
    run_phase("Motion only (26 Hz accel)", 3);

    /* ---- Phase 4: Nothing ---- */
    LOG_INF("Disabling motion...");
    motion_disable();
    run_phase("All disabled (ULP)", 4);

    /* ---- Phase 5: Motion only (re-enable) ---- */
    LOG_INF("Re-enabling motion...");
    motion_enable();
    run_phase("Motion only (re-enabled)", 5);

    /* ---- Phase 6: FIFO + Motion ---- */
    LOG_INF("Enabling FIFO again at 52 Hz...");
    fifo_enable(52);
    run_phase("FIFO + Motion (combined)", 6);

    /* ---- Phase 7: FIFO only (disable motion) ---- */
    LOG_INF("Disabling motion (FIFO stays)...");
    motion_disable();
    run_phase("FIFO only (motion disabled)", 7);

    /* ---- Phase 8: Nothing ---- */
    LOG_INF("Disabling FIFO...");
    fifo_disable();
    run_phase("All disabled (ULP)", 8);

    /* ---- Phase 9: Motion only, duration=0 (ULP) ---- */
    LOG_INF("Enabling motion with instant trigger (duration=0)...");
    motion_enable_instant();
    run_phase("Motion only, dur=0 (ULP)", 9);

    /* ---- Phase 10: Change duration to 40ms (LP) ---- */
    LOG_INF("Setting motion duration to 40 ms...");
    motion_set_duration(MOTION_DURATION_MS);
    run_phase("Motion only, dur=40ms (LP)", 10);

    /* ---- Phase 11: Change duration back to 0 (ULP) ---- */
    LOG_INF("Setting motion duration back to 0 ms...");
    motion_set_duration(0);
    run_phase("Motion only, dur=0 (ULP)", 11);

    /* ---- Phase 12: Disable motion ---- */
    LOG_INF("Disabling motion...");
    motion_disable();
    run_phase("All disabled (ULP, ODR=0)", 12);

    LOG_INF("========================================");
    LOG_INF("Test complete. Sleeping forever.");
    LOG_INF("========================================");

    while (1) {
        k_sleep(K_FOREVER);
    }

    return 0;
}
```

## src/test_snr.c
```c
// Standard includes
#include <stdbool.h>
#include <stdio.h>

// Zephyr includes
#include <zephyr/device.h>
#include <zephyr/kernel.h>
#include <zephyr/logging/log.h>

// Application includes
#include <corekinect/module/vsm/vsm.h>

LOG_MODULE_REGISTER(test_snr, 4);

// Global variables
static bool g_test_stopped = false;

/**
 * @brief Callback function for SNR test steps
 *
 * This callback is called after each step of the SNR test to notify the user
 * to move the mirror to the next position.
 *
 * @param current_step The current step of the test
 * @param total_steps The total number of steps in the test
 * @param stop_test A pointer to a boolean that can be set to true to stop the test
 */
static void snr_test_step_callback(int current_step, int total_steps, bool *stop_test) {
    LOG_INF("SNR Test Step %d/%d completed", current_step, total_steps);

    if (current_step < total_steps) {
        LOG_INF("Please move the mirror to position %d and press any key to continue...", current_step + 1);
        // In a real implementation, we will wait for user input here once they've moved the mirror

        k_sleep(K_MSEC(10000));  // For now, we'll just wait some time
    } else {
        LOG_INF("SNR test completed!");
    }

    // Check if test should be stopped
    if (g_test_stopped) {
        *stop_test = true;
        LOG_WRN("SNR test stopped by user");
    }
}

/**
 * @brief Process and display SNR test results
 *
 * @param result The SNR test results to process
 */
static void process_snr_results(const vsm_test_snr_result_t *result) {
    if (!result) {
        LOG_ERR("Invalid SNR test result");
        return;
    }

    LOG_INF("=== SNR Test Results ===");
    LOG_INF("Overall test result: %s", result->passed ? "PASSED" : "FAILED");
    LOG_INF("Number of steps measured: %d", result->num_steps);
    LOG_INF("Maximum SNR observed: %.2f dB", (double)result->max_snr_db);

    if (result->snr_db_at_10ua > 0.0f) {
        LOG_INF("SNR at 10uA: %.2f dB", (double)result->snr_db_at_10ua);
    }

    // Display per-step results
    if (result->steps && result->num_steps > 0) {
        LOG_INF("=== Per-Step Results ===");
        for (int i = 0; i < result->num_steps; i++) {
            const vsm_test_snr_step_result_t *step = &result->steps[i];
            LOG_INF("Step %d: Mean=%.2f, StdDev=%.2f, SNR=%.2f dB",
                    step->step_index,
                    (double)step->mean_signal,
                    (double)step->stddev_signal,
                    (double)step->snr_db);
        }
    }

    // Check passing criteria
    LOG_INF("=== Passing Criteria Check ===");
    if (result->max_snr_db >= 80.0f) {
        LOG_INF("✓ Green channel SNR >= 80dB: %.2f dB", (double)result->max_snr_db);
    } else {
        LOG_ERR("✗ Green channel SNR < 80dB: %.2f dB", (double)result->max_snr_db);
    }

    if (result->max_snr_db >= 85.0f) {
        LOG_INF("✓ Red/IR channel SNR >= 85dB: %.2f dB", (double)result->max_snr_db);
    } else {
        LOG_ERR("✗ Red/IR channel SNR < 85dB: %.2f dB", (double)result->max_snr_db);
    }
}

int main(void) {
    LOG_INF("SNR Test Application Starting...");

    // Configure SNR test
    static const vsm_test_snr_config_t snr_config = {
        .p_ppg_dev = DEVICE_DT_GET(DT_NODELABEL(pah8151)),
        .callback = snr_test_step_callback,
    };

    LOG_INF("Starting SNR test...");
    LOG_INF("Prerequisites:");
    LOG_INF("- Ensure DUT is correctly setup in SNR test fixture");
    LOG_INF("- Ensure fixture is closed and aligned to spec");
    LOG_INF("- Prepare to move mirror to different positions");

    // Run the SNR test
    vsm_test_snr_result_t result = vsm_test_snr(&snr_config);

    // Process and display results
    process_snr_results(&result);

    // Clean up if needed (free allocated memory for steps array)
    if (result.steps) {
        LOG_INF("Cleaning up test results...");
        if (!vsm_test_snr_free_memory(&result)) {
            LOG_ERR("Failed to free test results");
        }
    }

    LOG_INF("SNR test application completed!");

    return 0;
}
```
